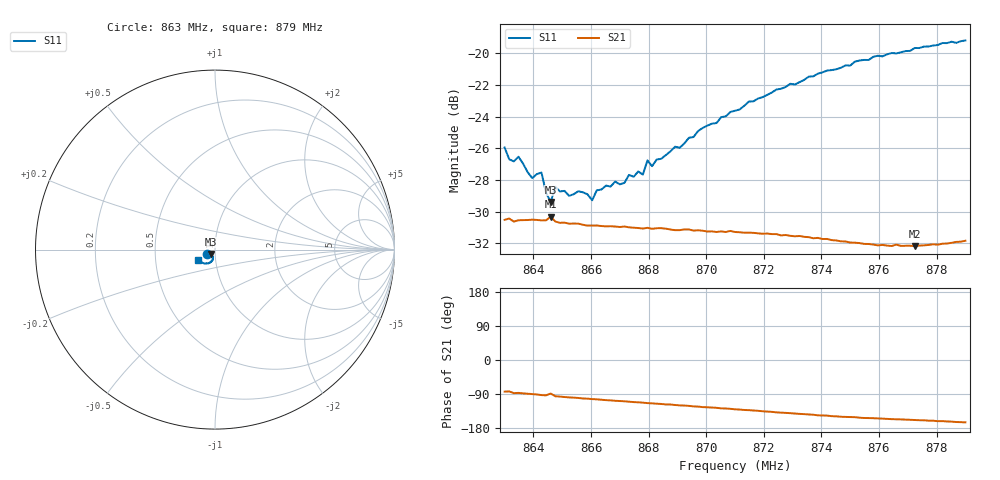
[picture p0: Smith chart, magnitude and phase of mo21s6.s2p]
# HZ S RI R 50
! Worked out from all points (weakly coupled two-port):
!   101 points, 863 MHz to 879 MHz, reference 50 ohm
!   highest |S21| = -30.31 dB at 864.6 MHz (marker M1); lowest = -32.2 dB at 877.24 MHz (marker M2)
!   lowest |S11| = -29.4 dB at 864.6 MHz (marker M3), VSWR 1.07, Z = 47.7 - j2.36 ohm
!   |S11| at or under -10 dB: start of sweep to end of sweep
!   S12 and S22 are empty: the file has one direction only
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8.63e8  -0.0448 -0.0231  0.00339 -0.0296  0 0  0 0
8.6316e8  -0.0392 -0.0247  0.00371 -0.0299  0 0  0 0
8.6348e8  -0.0397 -0.0255  0.00166 -0.0297  0 0  0 0
8.6396e8  -0.0323 -0.0242  4.6e-05 -0.0299  0 0  0 0
8.6428e8  -0.0326 -0.0266  -0.00135 -0.0297  0 0  0 0
8.6444e8  -0.0278 -0.0233  -0.00168 -0.0297  0 0  0 0
8.646e8  -0.0232 -0.0247  0.000785 -0.0305  0 0  0 0
8.6476e8  -0.0287 -0.0248  -0.00293 -0.0293  0 0  0 0
8.6524e8  -0.0238 -0.0264  -0.0044 -0.0286  0 0  0 0
8.6572e8  -0.0208 -0.0299  -0.00577 -0.0282  0 0  0 0
8.6604e8  -0.0178 -0.0294  -0.00651 -0.0279  0 0  0 0
8.662e8  -0.0192 -0.0315  -0.00683 -0.0278  0 0  0 0
8.6764e8  -0.0145 -0.0398  -0.0104 -0.0261  0 0  0 0
8.678e8  -0.0121 -0.0396  -0.0107 -0.0259  0 0  0 0
8.6796e8  -0.0179 -0.0423  -0.0113 -0.0258  0 0  0 0
8.6812e8  -0.0122 -0.0423  -0.0115 -0.0254  0 0  0 0
8.6844e8  -0.0117 -0.045  -0.0123 -0.0252  0 0  0 0
8.71e8  -0.0176 -0.0635  -0.0176 -0.0209  0 0  0 0
8.7372e8  -0.0362 -0.0764  -0.0212 -0.0152  0 0  0 0
8.7644e8  -0.0664 -0.075  -0.0225 -0.01  0 0  0 0
8.7724e8  -0.0743 -0.0726  -0.0229 -0.00909  0 0  0 0
8.79e8  -0.0921 -0.0597  -0.0247 -0.00684  0 0  0 0
